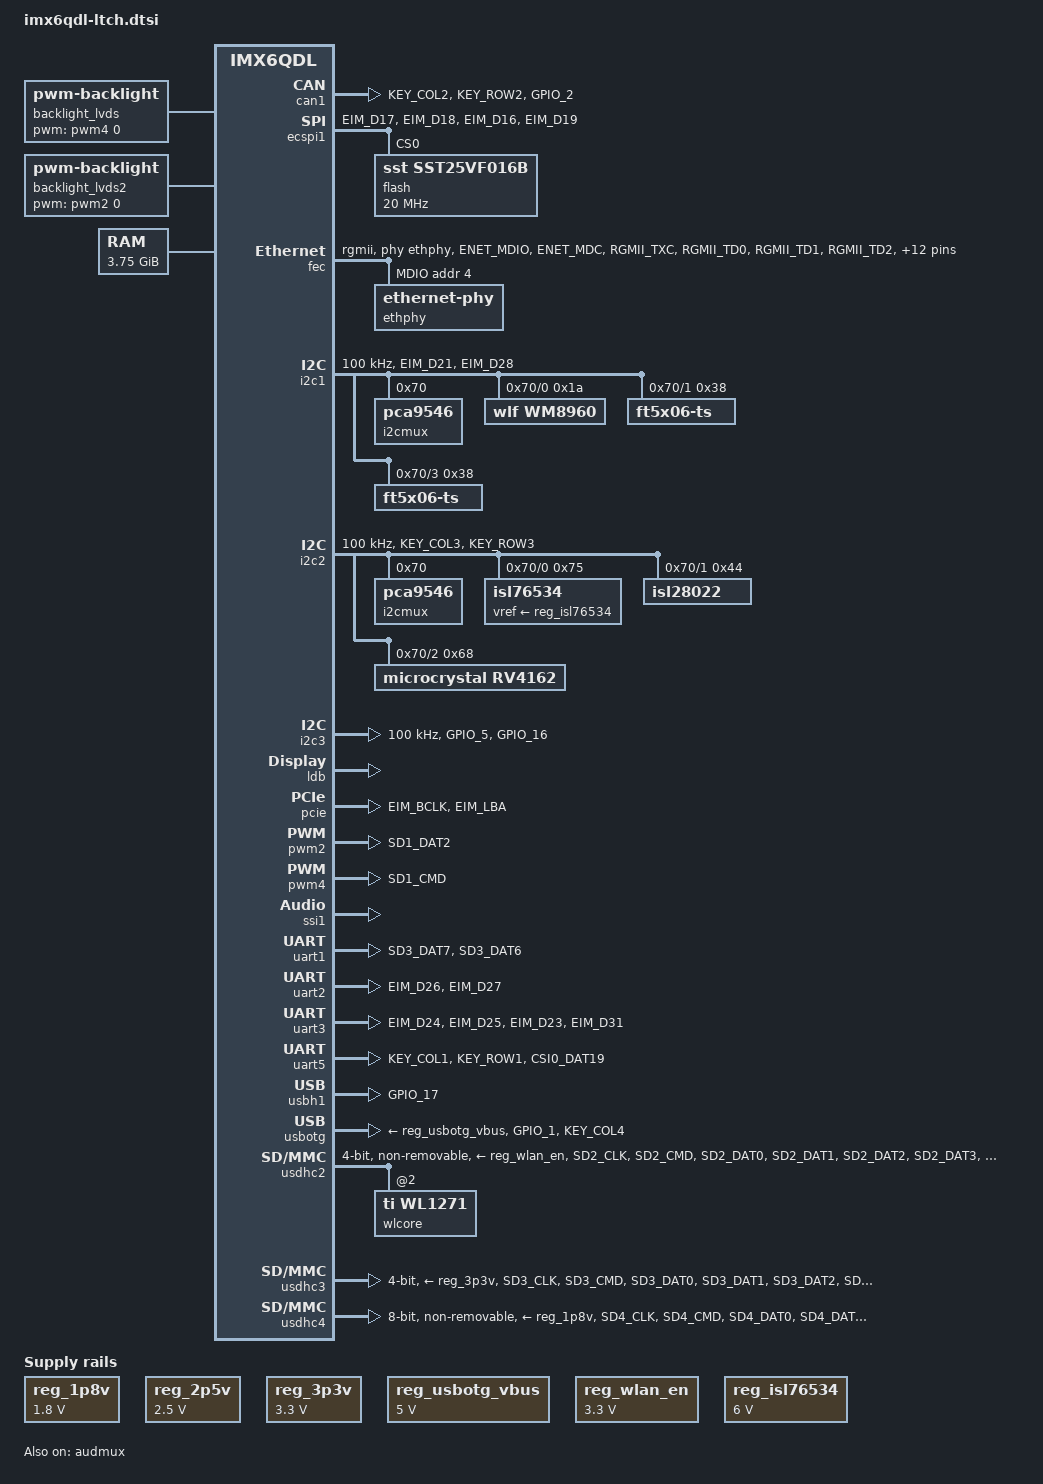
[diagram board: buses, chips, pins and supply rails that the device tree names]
/*
 * Copyright 2015 Boundary Devices, Inc.
 *
 * This file is dual-licensed: you can use it either under the terms
 * of the GPL or the X11 license, at your option. Note that this dual
 * licensing only applies to this file, and not this project as a
 * whole.
 *
 *  a) This file is free software; you can redistribute it and/or
 *     modify it under the terms of the GNU General Public License
 *     version 2 as published by the Free Software Foundation.
 *
 *     This file is distributed in the hope that it will be useful
 *     but WITHOUT ANY WARRANTY; without even the implied warranty of
 *     MERCHANTABILITY or FITNESS FOR A PARTICULAR PURPOSE.  See the
 *     GNU General Public License for more details.
 *
 * Or, alternatively
 *
 *  b) Permission is hereby granted, free of charge, to any person
 *     obtaining a copy of this software and associated documentation
 *     files (the "Software"), to deal in the Software without
 *     restriction, including without limitation the rights to use
 *     copy, modify, merge, publish, distribute, sublicense, and/or
 *     sell copies of the Software, and to permit persons to whom the
 *     Software is furnished to do so, subject to the following
 *     conditions:
 *
 *     The above copyright notice and this permission notice shall be
 *     included in all copies or substantial portions of the Software.
 *
 *     THE SOFTWARE IS PROVIDED , WITHOUT WARRANTY OF ANY KIND
 *     EXPRESS OR IMPLIED, INCLUDING BUT NOT LIMITED TO THE WARRANTIES
 *     OF MERCHANTABILITY, FITNESS FOR A PARTICULAR PURPOSE AND
 *     NONINFRINGEMENT. IN NO EVENT SHALL THE AUTHORS OR COPYRIGHT
 *     HOLDERS BE LIABLE FOR ANY CLAIM, DAMAGES OR OTHER LIABILITY
 *     WHETHER IN AN ACTION OF CONTRACT, TORT OR OTHERWISE, ARISING
 *     FROM, OUT OF OR IN CONNECTION WITH THE SOFTWARE OR THE USE OR
 *     OTHER DEALINGS IN THE SOFTWARE.
 */
#include <dt-bindings/gpio/gpio.h>
#include <dt-bindings/input/input.h>

&iomuxc {
	pinctrl-names = "default";
	pinctrl-0 = <&pinctrl_hog>;

	pinctrl_audmux3: audmux3grp {
		fsl,pins = <
			MX6QDL_PAD_CSI0_DAT7__AUD3_RXD		0x130b0
			MX6QDL_PAD_CSI0_DAT4__AUD3_TXC		0x130b0
			MX6QDL_PAD_CSI0_DAT5__AUD3_TXD		0x110b0
			MX6QDL_PAD_CSI0_DAT6__AUD3_TXFS		0x130b0
		>;
	};

	pinctrl_bt_rfkill: bt-rfkillgrp {
		fsl,pins = <
#define GP_BT_RFKILL_RESET	<&gpio6 16 GPIO_ACTIVE_LOW>
			MX6QDL_PAD_NANDF_CS3__GPIO6_IO16	0x030b0
		>;
	};

	pinctrl_can1: can1grp {
		fsl,pins = <
			MX6QDL_PAD_KEY_COL2__FLEXCAN1_TX	0x1b0b0
			MX6QDL_PAD_KEY_ROW2__FLEXCAN1_RX	0x1b0b0
#define GP_CAN1_STANDBY	<&gpio1 2 GPIO_ACTIVE_HIGH>
			MX6QDL_PAD_GPIO_2__GPIO1_IO02		0x0b0b0
		>;
	};

	pinctrl_ecspi1: ecspi1grp {
		fsl,pins = <
			MX6QDL_PAD_EIM_D17__ECSPI1_MISO		0x100b1
			MX6QDL_PAD_EIM_D18__ECSPI1_MOSI		0x100b1
			MX6QDL_PAD_EIM_D16__ECSPI1_SCLK		0x000b1
#define GP_ECSPI1_NOR_CS	<&gpio3 19 GPIO_ACTIVE_LOW>
			MX6QDL_PAD_EIM_D19__GPIO3_IO19		0x0b0b1
		>;
	};

	pinctrl_enet: enetgrp {
		fsl,pins = <
			MX6QDL_PAD_ENET_MDIO__ENET_MDIO		0x1b0b0
			MX6QDL_PAD_ENET_MDC__ENET_MDC		0x1b0b0
			MX6QDL_PAD_RGMII_TXC__RGMII_TXC		0x100b0
			MX6QDL_PAD_RGMII_TD0__RGMII_TD0		0x100b0
			MX6QDL_PAD_RGMII_TD1__RGMII_TD1		0x100b0
			MX6QDL_PAD_RGMII_TD2__RGMII_TD2		0x100b0
			MX6QDL_PAD_RGMII_TD3__RGMII_TD3		0x100b0
			MX6QDL_PAD_RGMII_TX_CTL__RGMII_TX_CTL	0x100b0
			MX6QDL_PAD_ENET_REF_CLK__ENET_TX_CLK	0x100b0
			MX6QDL_PAD_RGMII_RXC__RGMII_RXC		0x1b0b0
			MX6QDL_PAD_RGMII_RD0__RGMII_RD0		0x1b0b0
			MX6QDL_PAD_RGMII_RD1__RGMII_RD1		0x1b0b0
			MX6QDL_PAD_RGMII_RD2__RGMII_RD2		0x1b0b0
			MX6QDL_PAD_RGMII_RD3__RGMII_RD3		0x1b0b0
			MX6QDL_PAD_RGMII_RX_CTL__RGMII_RX_CTL	0x1b0b0
#define GP_ENET_PHY_RESET	<&gpio1 27 GPIO_ACTIVE_LOW>
			MX6QDL_PAD_ENET_RXD0__GPIO1_IO27	0x030b0
#define GPIRQ_ENET_PHY		<&gpio1 28 IRQ_TYPE_LEVEL_LOW>
			MX6QDL_PAD_ENET_TX_EN__GPIO1_IO28	0x1b0b0
#define GPIRQ_ENET		<&gpio1 6 IRQ_TYPE_LEVEL_HIGH>
			MX6QDL_PAD_GPIO_6__ENET_IRQ		0x000b1
		>;
	};

	pinctrl_hog: hoggrp {
		fsl,pins = <
#define GP_BT_CLK_REQ		<&gpio2 0 GPIO_ACTIVE_HIGH>
			MX6QDL_PAD_NANDF_D0__GPIO2_IO00	0x1b0b0
#define GP_BT_HOST_WAKE		<&gpio6 7 GPIO_ACTIVE_HIGH>
			MX6QDL_PAD_NANDF_CLE__GPIO6_IO07	0x1b0b0
#define GP_WIFI_WAKE		<&gpio2 1 GPIO_ACTIVE_HIGH>
			MX6QDL_PAD_NANDF_D1__GPIO2_IO01		0x1b0b0
#define GP_WIFI_QOW		<&gpio2 3 GPIO_ACTIVE_HIGH>
			MX6QDL_PAD_NANDF_D3__GPIO2_IO03		0x1b0b0

#define GP_LVDS			<&gpio4 5 GPIO_ACTIVE_HIGH>	/* J4 pin 19 */
			MX6QDL_PAD_GPIO_19__GPIO4_IO05		0x130b0
#define GP_LVDS2		<&gpio2 23 GPIO_ACTIVE_HIGH>	/* J5 pin 19 */
			MX6QDL_PAD_EIM_CS0__GPIO2_IO23		0x130b0

#define GP_TP55			<&gpio7 13 GPIO_ACTIVE_HIGH>
			MX6QDL_PAD_GPIO_18__GPIO7_IO13		0x1b0b0
#define GP_HOG_TP71		<&gpio1 30 GPIO_ACTIVE_HIGH>
			MX6QDL_PAD_ENET_TXD0__GPIO1_IO30	0x1b0b0
#define GP_TP74			<&gpio2 7 GPIO_ACTIVE_HIGH>
			MX6QDL_PAD_NANDF_D7__GPIO2_IO07		0x1b0b0
#define GP_TP124		<&gpio1 16 GPIO_ACTIVE_HIGH>
			MX6QDL_PAD_SD1_DAT0__GPIO1_IO16		0x1b0b0
#define GP_TP125		<&gpio7 1 GPIO_ACTIVE_HIGH>
			MX6QDL_PAD_SD3_DAT4__GPIO7_IO01		0x1b0b0
#define GP_TP151		<&gpio2 24 GPIO_ACTIVE_HIGH>
			MX6QDL_PAD_EIM_CS1__GPIO2_IO24		0x1b0b0
#define GP_TP152		<&gpio6 9 GPIO_ACTIVE_HIGH>
			MX6QDL_PAD_NANDF_WP_B__GPIO6_IO09	0x1b0b0
#define GP_TP153		<&gpio6 4 GPIO_ACTIVE_HIGH>
			MX6QDL_PAD_CSI0_DAT18__GPIO6_IO04	0x1b0b0

#define GP_LED3V		<&gpio5 7 GPIO_ACTIVE_HIGH>
			MX6QDL_PAD_DISP0_DAT13__GPIO5_IO07	0x1b0b0
#define GP_LED3V_CTRL		<&gpio5 5 GPIO_ACTIVE_HIGH>
			MX6QDL_PAD_DISP0_DAT11__GPIO5_IO05	0x1b0b0
#define GP_LED5V		<&gpio5 8 GPIO_ACTIVE_HIGH>
			MX6QDL_PAD_DISP0_DAT14__GPIO5_IO08	0x1b0b0
#define GP_LED5V_CTRL		<&gpio4 31 GPIO_ACTIVE_HIGH>
			MX6QDL_PAD_DISP0_DAT10__GPIO4_IO31	0x1b0b0
		>;
	};

	pinctrl_i2c1: i2c1grp {
		fsl,pins = <
			MX6QDL_PAD_EIM_D21__I2C1_SCL		0x4001b8b1
			MX6QDL_PAD_EIM_D28__I2C1_SDA		0x4001b8b1
		>;
	};

	pinctrl_i2c1_1: i2c1-1grp {
		fsl,pins = <
#define GP_I2C1_SCL	<&gpio3 21 GPIO_ACTIVE_HIGH>
			MX6QDL_PAD_EIM_D21__GPIO3_IO21		0x4001b8b1
#define GP_I2C1_SDA	<&gpio3 28 GPIO_ACTIVE_HIGH>
			MX6QDL_PAD_EIM_D28__GPIO3_IO28		0x4001b8b1
		>;
	};

	/* i2c1 - TCA9546APWR,  a - wm89 , b - touch, c - pcie, d - J6 */
	/* A0/A1 are i2c address selects, 0x70 - 0x73 */
	pinctrl_i2c1_tca9546: i2c1-tca9546grp {
		fsl,pins = <
#define GP_I2C1_TCA9546_A0	<&gpio4 19 GPIO_ACTIVE_HIGH>
			MX6QDL_PAD_DI0_PIN3__GPIO4_IO19		0x030b0
#define GP_I2C1_TCA9546_A1	<&gpio4 20 GPIO_ACTIVE_HIGH>
			MX6QDL_PAD_DI0_PIN4__GPIO4_IO20		0x030b0
#define GP_I2C1_TCA9546_RESET	<&gpio1 8 GPIO_ACTIVE_LOW>
			MX6QDL_PAD_GPIO_8__GPIO1_IO08		0x030b0
		>;
	};

	/* i2c1a wm8960 - Amplifier Mute, TDA7491LP13TR */
	pinctrl_i2c1a_wm8960: i2c1a-wm8960grp {
		fsl,pins = <
#define GP_WM8960_AMP_STDBY	<&gpio4 7 GPIO_ACTIVE_LOW>		/* Low is standby */
			MX6QDL_PAD_KEY_ROW0__GPIO4_IO07		0x030b0
#define GP_WM8960_AMP_MUTE		<&gpio4 21 GPIO_ACTIVE_LOW>		/* Low is muted */
			MX6QDL_PAD_DISP0_DAT0__GPIO4_IO21	0x030b0
#define GP_WM8960_AMP_G0	<&gpio4 25 GPIO_ACTIVE_HIGH>
			MX6QDL_PAD_DISP0_DAT4__GPIO4_IO25	0x030b0
#define GP_WM8960_AMP_G1	<&gpio4 24 GPIO_ACTIVE_HIGH>
			MX6QDL_PAD_DISP0_DAT3__GPIO4_IO24	0x030b0
#define GP_WM8960_MIC_DET	<&gpio7 8 GPIO_ACTIVE_LOW>
			MX6QDL_PAD_SD3_RST__GPIO7_IO08		0x1b0b0
			MX6QDL_PAD_GPIO_0__CCM_CLKO1		0x000b0		/* mclk */
		>;
	};

	/* i2c1b touch J7, pin 4 */
	pinctrl_i2c1b_ft5x06: i2c1b-ft5x06grp {
		fsl,pins = <
#define GPIRQ_I2C1B_J7		<&gpio1 9 IRQ_TYPE_EDGE_FALLING>
#define GP_I2C1B_J7		<&gpio1 9 GPIO_ACTIVE_LOW>
			MX6QDL_PAD_GPIO_9__GPIO1_IO09		0x1b0b0
		>;
	};

	/* i2c1d touch J6, pin 4 */
	pinctrl_i2c1d_ft5x06: i2c1d-ft5x06grp {
		fsl,pins = <
#define GPIRQ_I2C1D_J6		<&gpio1 7 IRQ_TYPE_EDGE_FALLING>
#define GP_I2C1D_J6		<&gpio1 7 GPIO_ACTIVE_LOW>
			MX6QDL_PAD_GPIO_7__GPIO1_IO07		0x1b0b0
		>;
	};

	pinctrl_i2c2: i2c2grp {
		fsl,pins = <
			MX6QDL_PAD_KEY_COL3__I2C2_SCL		0x4001b8b1
			MX6QDL_PAD_KEY_ROW3__I2C2_SDA		0x4001b8b1
		>;
	};

	pinctrl_i2c2_1: i2c2-1grp {
		fsl,pins = <
#define GP_I2C2_SCL	<&gpio4 12 GPIO_ACTIVE_HIGH>
			MX6QDL_PAD_KEY_COL3__GPIO4_IO12		0x4001b8b1
#define GP_I2C2_SDA	<&gpio4 13 GPIO_ACTIVE_HIGH>
			MX6QDL_PAD_KEY_ROW3__GPIO4_IO13		0x4001b8b1
		>;
	};

	/* i2c2 - TCA9546APWR, a : DAC, b: ADC, c: RV4162, d: J14 */
	pinctrl_i2c2_tca9546: i2c2-tca9546grp {
		fsl,pins = <
#define GP_I2C2_TCA9546_RESET	<&gpio1 4 GPIO_ACTIVE_LOW>
			MX6QDL_PAD_GPIO_4__GPIO1_IO04		0x030b0
		>;
	};

	/* i2c2b ISL28022FUZ ADC */
	pinctrl_i2c2b_isl28022: i2c2b-isl28022grp {
		fsl,pins = <
#define GPIRQ_ISL28022         <&gpio4 15 IRQ_TYPE_LEVEL_LOW>
#define GP_ISL28022            <&gpio4 15 GPIO_ACTIVE_LOW>
			MX6QDL_PAD_KEY_ROW4__GPIO4_IO15		0x1f0b0
			>;
	};

	pinctrl_i2c2c_rv4162: i2c2c-rv4162grp {
		fsl,pins = <
#define GPIRQ_RTC_RV4162	<&gpio4 6 IRQ_TYPE_LEVEL_LOW>
			MX6QDL_PAD_KEY_COL0__GPIO4_IO06		0x1b0b0
		>;
	};

	/* i2c2d J14, pin 4 */
	pinctrl_i2c2d_j14: i2c2d-j14grp {
		fsl,pins = <
#define GPIRQ_I2C2D_J14		<&gpio1 3 IRQ_TYPE_LEVEL_LOW>
			MX6QDL_PAD_GPIO_3__GPIO1_IO03	0x1b0b0
		>;
	};

	pinctrl_i2c3: i2c3grp {
		fsl,pins = <
			MX6QDL_PAD_GPIO_5__I2C3_SCL		0x4001b8b1
			MX6QDL_PAD_GPIO_16__I2C3_SDA		0x4001b8b1
		>;
	};

	pinctrl_i2c3_1: i2c3_1grp {
		fsl,pins = <
#define GP_I2C3_SCL		<&gpio1 5 GPIO_ACTIVE_HIGH>
			MX6QDL_PAD_GPIO_5__GPIO1_IO05		0x4001b8b1
#define GP_I2C3_SDA		<&gpio7 11 GPIO_ACTIVE_HIGH>
			MX6QDL_PAD_GPIO_16__GPIO7_IO11		0x4001b8b1
		>;
	};

	pinctrl_i2c3_j22: i2c3-j22grp {
		fsl,pins = <
#define GPIRQ_I2C3_J22		<&gpio1 17 IRQ_TYPE_LEVEL_LOW>
			MX6QDL_PAD_SD1_DAT1__GPIO1_IO17	0x1b0b0
		>;
	};

	pinctrl_pcie: pciegrp {
		fsl,pins = <
#define GP_PCIE_RESET		<&gpio6 31 GPIO_ACTIVE_LOW>
			MX6QDL_PAD_EIM_BCLK__GPIO6_IO31		0x030b0
#define GP_PCIE_DISABLE		<&gpio2 27 GPIO_ACTIVE_LOW>
			MX6QDL_PAD_EIM_LBA__GPIO2_IO27		0x030b0
		>;
	};

	/* PWM2 - Backlight on LVDS2 connector: J5, pin 20 */
	pinctrl_pwm2: pwm2grp {
		fsl,pins = <
			MX6QDL_PAD_SD1_DAT2__PWM2_OUT		0x030b1
		>;
	};

	/* PWM4 - Backlight on LVDS connector: J4, pin 20 */
	pinctrl_pwm4: pwm4grp {
		fsl,pins = <
			MX6QDL_PAD_SD1_CMD__PWM4_OUT		0x030b1
		>;
	};

	pinctrl_reg_usbotg_vbus: reg-usbotg-vbusgrp {
		fsl,pins = <
#define GP_REG_USBOTG	<&gpio3 22 GPIO_ACTIVE_HIGH>
			MX6QDL_PAD_EIM_D22__GPIO3_IO22		0x030b0
		>;
	};

	pinctrl_reg_wlan_en: reg-wlan-engrp {
		fsl,pins = <
#define GP_REG_WLAN_EN	<&gpio6 15 GPIO_ACTIVE_HIGH>
			MX6QDL_PAD_NANDF_CS2__GPIO6_IO15	0x030b0
		>;
	};

	pinctrl_uart1: uart1grp {
		fsl,pins = <
			MX6QDL_PAD_SD3_DAT7__UART1_TX_DATA	0x1b0b1
			MX6QDL_PAD_SD3_DAT6__UART1_RX_DATA	0x1b0b1
		>;
	};

	pinctrl_uart2: uart2grp {
		fsl,pins = <
			MX6QDL_PAD_EIM_D26__UART2_TX_DATA	0x1b0b1
			MX6QDL_PAD_EIM_D27__UART2_RX_DATA	0x1b0b1
		>;
	};

	pinctrl_uart3: uart3grp {
		fsl,pins = <
			MX6QDL_PAD_EIM_D24__UART3_TX_DATA	0x1b0b1
			MX6QDL_PAD_EIM_D25__UART3_RX_DATA	0x1b0b1
			MX6QDL_PAD_EIM_D23__UART3_CTS_B		0x1b0b1
			MX6QDL_PAD_EIM_D31__UART3_RTS_B		0x1b0b1
		>;
	};

	pinctrl_uart5: uart5grp {
		fsl,pins = <
			MX6QDL_PAD_KEY_COL1__UART5_TX_DATA	0x0b0b1
			MX6QDL_PAD_KEY_ROW1__UART5_RX_DATA	0x1b0b1
#define GP_UART5_TX_EN	<&gpio6 5 GPIO_ACTIVE_HIGH>
			MX6QDL_PAD_CSI0_DAT19__GPIO6_IO05	0x030b0
		>;
	};

	pinctrl_usbh1: usbh1grp {
		fsl,pins = <
#define GP_USBH1_HUB_RESET	<&gpio7 12 GPIO_ACTIVE_LOW>
			MX6QDL_PAD_GPIO_17__GPIO7_IO12		0x030b0
		>;
	};

	pinctrl_usbotg: usbotggrp {
		fsl,pins = <
			MX6QDL_PAD_GPIO_1__USB_OTG_ID		0x17059
			MX6QDL_PAD_KEY_COL4__USB_OTG_OC		0x1b0b0
		>;
	};

	pinctrl_usdhc2: usdhc2grp {
		fsl,pins = <
			MX6QDL_PAD_SD2_CLK__SD2_CLK		0x10071
			MX6QDL_PAD_SD2_CMD__SD2_CMD		0x17071
			MX6QDL_PAD_SD2_DAT0__SD2_DATA0		0x17071
			MX6QDL_PAD_SD2_DAT1__SD2_DATA1		0x17071
			MX6QDL_PAD_SD2_DAT2__SD2_DATA2		0x17071
			MX6QDL_PAD_SD2_DAT3__SD2_DATA3		0x17071
			MX6QDL_PAD_SD1_CLK__OSC32K_32K_OUT	0x000b0		/* slow clock */
#define GPIRQ_WIFI	<&gpio6 11 IRQ_TYPE_LEVEL_HIGH>
			MX6QDL_PAD_NANDF_CS0__GPIO6_IO11	0x100b0
		>;
	};

	pinctrl_usdhc2_100mhz: usdhc2grp-100mhz {
		fsl,pins = <
			MX6QDL_PAD_SD2_CLK__SD2_CLK		0x100B9
			MX6QDL_PAD_SD2_CMD__SD2_CMD		0x170B9
			MX6QDL_PAD_SD2_DAT0__SD2_DATA0		0x170B9
			MX6QDL_PAD_SD2_DAT1__SD2_DATA1 		0x170B9
			MX6QDL_PAD_SD2_DAT2__SD2_DATA2 		0x170B9
			MX6QDL_PAD_SD2_DAT3__SD2_DATA3 		0x170B9
		>;
	};

	pinctrl_usdhc2_200mhz: usdhc2grp-200mhz {
		fsl,pins = <
			MX6QDL_PAD_SD2_CLK__SD2_CLK 		0x100F9
			MX6QDL_PAD_SD2_CMD__SD2_CMD		0x170F9
			MX6QDL_PAD_SD2_DAT0__SD2_DATA0		0x170F9
			MX6QDL_PAD_SD2_DAT1__SD2_DATA1 		0x170F9
			MX6QDL_PAD_SD2_DAT2__SD2_DATA2 		0x170F9
			MX6QDL_PAD_SD2_DAT3__SD2_DATA3 		0x170F9
		>;
	};

	pinctrl_usdhc3: usdhc3grp {
		fsl,pins = <
			MX6QDL_PAD_SD3_CLK__SD3_CLK		0x10059
			MX6QDL_PAD_SD3_CMD__SD3_CMD		0x17059
			MX6QDL_PAD_SD3_DAT0__SD3_DATA0		0x17059
			MX6QDL_PAD_SD3_DAT1__SD3_DATA1		0x17059
			MX6QDL_PAD_SD3_DAT2__SD3_DATA2		0x17059
			MX6QDL_PAD_SD3_DAT3__SD3_DATA3		0x17059
#define GP_USDHC3_CD		<&gpio7 0 GPIO_ACTIVE_LOW>
			MX6QDL_PAD_SD3_DAT5__GPIO7_IO00		0x1b0b0
		>;
	};

	pinctrl_usdhc4: usdhc4grp {
		fsl,pins = <
			MX6QDL_PAD_SD4_CLK__SD4_CLK		0x10059
			MX6QDL_PAD_SD4_CMD__SD4_CMD		0x17059
			MX6QDL_PAD_SD4_DAT0__SD4_DATA0		0x17059
			MX6QDL_PAD_SD4_DAT1__SD4_DATA1		0x17059
			MX6QDL_PAD_SD4_DAT2__SD4_DATA2		0x17059
			MX6QDL_PAD_SD4_DAT3__SD4_DATA3		0x17059
			MX6QDL_PAD_SD4_DAT4__SD4_DATA4		0x17059
			MX6QDL_PAD_SD4_DAT5__SD4_DATA5		0x17059
			MX6QDL_PAD_SD4_DAT6__SD4_DATA6		0x17059
			MX6QDL_PAD_SD4_DAT7__SD4_DATA7		0x17059
#define GP_EMMC_RESET		<&gpio2 6 GPIO_ACTIVE_LOW>
			MX6QDL_PAD_NANDF_D6__GPIO2_IO06		0x130b0
		>;
	};
};

/ {
	aliases {
		backlight_lvds = &backlight_lvds;
		backlight_lvds2 = &backlight_lvds2;
		fb_lvds = &fb_lvds;
		fb_lvds2 = &fb_lvds2;
		ldb = &ldb;
		mmc0 = &usdhc3;
		mmc1 = &usdhc4;
		mmc2 = &usdhc2;
		mxcfb0 = &fb_lvds;
		mxcfb1 = &fb_lvds2;
		pwm_lvds = &pwm4;
		pwm_lvds2 = &pwm2;
		rtc1 = &snvs_rtc;
		t_lvds = &t_lvds;
		t_lvds2 = &t_lvds2;
	};

	backlight_lvds: backlight-lvds {
		brightness-levels = <0 1 2 3 4 5 6 7 8 9 10>;
		compatible = "pwm-backlight";
		default-brightness-level = <8>;
		display = <&fb_lvds>;
		pwms = <&pwm4 0 5000000>;
	};

	backlight_lvds2: backlight-lvds2 {
		brightness-levels = <0 1 2 3 4 5 6 7 8 9 10>;
		compatible = "pwm-backlight";
		default-brightness-level = <8>;
		display = <&fb_lvds2>;
		pwms = <&pwm2 0 5000000>;
	};

	bt-rfkill {
		compatible = "net,rfkill-gpio";
		pinctrl-names = "default";
		pinctrl-0 = <&pinctrl_bt_rfkill>;
		name = "bt-rfkill";
		type = <2>;	/* bluetooth */
		reset-gpios = GP_BT_RFKILL_RESET;
	};

	fb_lvds: fb@0 {
		compatible = "fsl,mxc_sdc_fb";
		disp_dev = "ldb";
		interface_pix_fmt = "RGB666";
		default_bpp = <16>;
		int_clk = <0>;
		late_init = <0>;
		status = "disabled";
	};

	fb_lvds2: fb@1 {
		compatible = "fsl,mxc_sdc_fb";
		disp_dev = "ldb";
		interface_pix_fmt = "RGB666";
		default_bpp = <16>;
		int_clk = <0>;
		late_init = <0>;
		status = "disabled";
	};

	memory {
		reg = <0x10000000 0xeffffc00>;
	};

	reg_1p8v: regulator-1v8 {
		compatible = "regulator-fixed";
		regulator-name = "1P8V";
		regulator-min-microvolt = <1800000>;
		regulator-max-microvolt = <1800000>;
		regulator-always-on;
	};

	reg_2p5v: regulator-2v5 {
		compatible = "regulator-fixed";
		regulator-name = "2P5V";
		regulator-min-microvolt = <2500000>;
		regulator-max-microvolt = <2500000>;
		regulator-always-on;
	};

	reg_3p3v: regulator-3v3 {
		compatible = "regulator-fixed";
		regulator-name = "3P3V";
		regulator-min-microvolt = <3300000>;
		regulator-max-microvolt = <3300000>;
		regulator-always-on;
	};

	reg_usbotg_vbus: regulator-usb-otg-vbus {
		compatible = "regulator-fixed";
		pinctrl-names = "default";
		pinctrl-0 = <&pinctrl_reg_usbotg_vbus>;
		regulator-name = "usb_otg_vbus";
		regulator-min-microvolt = <5000000>;
		regulator-max-microvolt = <5000000>;
		gpio = GP_REG_USBOTG;
		enable-active-high;
	};

	reg_wlan_en: regulator-wlan {
		compatible = "regulator-fixed";
		pinctrl-names = "default";
		pinctrl-0 = <&pinctrl_reg_wlan_en>;
		regulator-name = "wlan-en";
		regulator-min-microvolt = <3300000>;
		regulator-max-microvolt = <3300000>;
		gpio = GP_REG_WLAN_EN;
		startup-delay-us = <70000>;
		enable-active-high;
	};

	reg_isl76534: regulator-isl76534 {
		compatible = "regulator-fixed";
		regulator-name = "reg_isl76534";
		regulator-min-microvolt = <6000000>;
		regulator-max-microvolt = <6000000>;
		regulator-always-on;
	};

	sound {
		amp-mute-gpios = GP_WM8960_AMP_MUTE;
		/* delay between mute and standby enter */
		amp-standby-enter-wait-ms = <50>;
		/* delay between standby exit and unmute */
		amp-standby-exit-delay-ms = <100>;
		amp-standby-gpios = GP_WM8960_AMP_STDBY;
		amp-gain-gpios = GP_WM8960_AMP_G0, GP_WM8960_AMP_G1;
		/* amp-gain-seq = /bits/ 8 <0 1 2 3>; */ /* default */
#ifdef USE_ASRC
		asrc-controller = <&asrc>;
#endif
		audio-codec = <&wm8960>;
		audio-routing =
			"Ext Spk", "HP_L",
			"Ext Spk", "HP_R",
			"LINPUT1", "Main MIC",
			"Main MIC", "MICB"
#ifdef USE_ASRC
			,"CPU-Playback", "ASRC-Playback",
			"Playback", "CPU-Playback",
			"ASRC-Capture", "CPU-Capture",
			"CPU-Capture", "Capture"
#endif
			;

		codec-master;
		compatible = "fsl,imx6q-ltch-wm8960",
			     "fsl,imx-audio-wm8960";
		cpu-dai = <&ssi1>;
		model = "wm8960-audio";
		mux-int-port = <1>;
		mux-ext-port = <3>;
	};

	v4l2-out {
		compatible = "fsl,mxc_v4l2_output";
		status = "okay";
	};
};

&audmux {
	pinctrl-names = "default";
	pinctrl-0 = <&pinctrl_audmux3>;
	status = "okay";
};

&can1 {
	pinctrl-names = "default";
	pinctrl-0 = <&pinctrl_can1>;
	trx-stby-gpio = GP_CAN1_STANDBY;
	status = "okay";
};

&ecspi1 {
	pinctrl-names = "default";
	pinctrl-0 = <&pinctrl_ecspi1>;
	fsl,spi-num-chipselects = <1>;
	cs-gpios = GP_ECSPI1_NOR_CS;
	status = "okay";

	flash: m25p80@0 {
		compatible = "sst,sst25vf016b";
		spi-max-frequency = <20000000>;
		reg = <0>;
		#address-cells = <1>;
		#size-cells = <1>;
		mtd@00000000 {
			label = "U-Boot";
			reg = <0x0 0xC0000>;
		};

		mtd@000C0000 {
			label = "env";
			reg = <0xC0000 0x2000>;
		};
		mtd@000C2000 {
			label = "splash";
			reg = <0xC2000 0x13e000>;
		};
	};
};

&fec {
	interrupts-extended = GPIRQ_ENET,
			      <&gpc 0 119 IRQ_TYPE_LEVEL_HIGH>;
	phy-handle = <&ethphy>;
	phy-mode = "rgmii";
#if 0
	phy-reset-gpios = GP_ENET_PHY_RESET;
#endif
	pinctrl-names = "default";
	pinctrl-0 = <&pinctrl_enet>;
	status = "okay";

	mdio {
		#address-cells = <0>;
		#size-cells = <1>;

		ethphy: ethernet-phy@4 {
			reg = <4>;
			interrupts-extended = GPIRQ_ENET_PHY;
		};
	};
};

&i2c1 {
	clock-frequency = <100000>;
	pinctrl-names = "default", "gpio";
	pinctrl-0 = <&pinctrl_i2c1>;
	pinctrl-1 = <&pinctrl_i2c1_1>;
	scl-gpios = GP_I2C1_SCL;
	sda-gpios = GP_I2C1_SDA;
	status = "okay";

	i2cmux@70 {
		compatible = "pca9546";
		pinctrl-names = "default";
		pinctrl-0 = <&pinctrl_i2c1_tca9546>;
		reg = <0x70>;
		reset-gpios = GP_I2C1_TCA9546_RESET;
		#address-cells = <1>;
		#size-cells = <0>;

		i2c1a: i2c1@0 {
			reg = <0>;
			#address-cells = <1>;
			#size-cells = <0>;
		};

		i2c1b: i2c1@1 {
			reg = <1>;
			#address-cells = <1>;
			#size-cells = <0>;
		};

		i2c1c: i2c1@2 {
			reg = <2>;
			#address-cells = <1>;
			#size-cells = <0>;
		};

		i2c1d: i2c1@3 {
			reg = <3>;
			#address-cells = <1>;
			#size-cells = <0>;
		};
	};
};

&i2c1a {
	clock-frequency = <100000>;

	wm8960: wm8960@1a {
		compatible = "wlf,wm8960";
		pinctrl-names = "default";
		pinctrl-0 = <&pinctrl_i2c1a_wm8960>;
		reg = <0x1a>;
		clock-names = "mclk";
		wlf,shared-lrclk;
		clocks = <&clks IMX6QDL_CLK_CKO>;
		assigned-clocks =        <&clks IMX6QDL_CLK_CKO>;
		assigned-clock-parents = <&clks IMX6QDL_CLK_CKO2>;
	};
};

&i2c1b {
	clock-frequency = <100000>;

	ft5x06-ts@38 {
		compatible = "ft5x06-ts";
		pinctrl-names = "default";
		pinctrl-0 = <&pinctrl_i2c1b_ft5x06>;
		reg = <0x38>;
		interrupts-extended = GPIRQ_I2C1B_J7;
		wakeup-gpios = GP_I2C1B_J7;
	};
};

&i2c1c {
	clock-frequency = <100000>;
	/* to pcie connector */
};

&i2c1d {
	clock-frequency = <100000>;

	ft5x06-ts@38 {
		compatible = "ft5x06-ts";
		pinctrl-names = "default";
		pinctrl-0 = <&pinctrl_i2c1d_ft5x06>;
		reg = <0x38>;
		interrupts-extended = GPIRQ_I2C1D_J6;
		wakeup-gpios = GP_I2C1D_J6;
	};
};

&i2c2 {
	clock-frequency = <100000>;
	pinctrl-names = "default", "gpio";
	pinctrl-0 = <&pinctrl_i2c2>;
	pinctrl-1 = <&pinctrl_i2c2_1>;
	scl-gpios = GP_I2C2_SCL;
	sda-gpios = GP_I2C2_SDA;
	status = "okay";

	i2cmux@70 {
		compatible = "pca9546";
		pinctrl-names = "default";
		pinctrl-0 = <&pinctrl_i2c2_tca9546>;
		reg = <0x70>;
		reset-gpios = GP_I2C2_TCA9546_RESET;
		#address-cells = <1>;
		#size-cells = <0>;

		i2c2a: i2c2@0 {
			reg = <0>;
			#address-cells = <1>;
			#size-cells = <0>;
		};

		i2c2b: i2c2@1 {
			reg = <1>;
			#address-cells = <1>;
			#size-cells = <0>;
		};

		i2c2c: i2c2@2 {
			reg = <2>;
			#address-cells = <1>;
			#size-cells = <0>;
		};

		i2c2d: i2c2@3 {
			reg = <3>;
			#address-cells = <1>;
			#size-cells = <0>;
		};
	};
};

&i2c2a {
	clock-frequency = <100000>;

	isl76534@75 {
		compatible = "isl76534";
		reg = <0x75>;
		vref-supply = <&reg_isl76534>;
	};
};

&i2c2b {
	clock-frequency = <100000>;

	isl28022@44 {
		compatible = "isl28022";
		interrupts-extended = GPIRQ_ISL28022;
		pinctrl-names = "default";
		pinctrl-0 = <&pinctrl_i2c2b_isl28022>;
		reg = <0x44>;
		bus-voltage-max = <16>; 	/* 16/32/60 Volts for full range */
		shunt-voltage-max = <320>;	/* 40/80/160/320 mV */
		bus-adc-cfg = <2>;		/* 2 means 14-bit, 258 uSec */
		shunt-adc-cfg = <2>;		/* 2 means 14-bit, 258 uSec */
		rshunt = <10>;			/* ohms */
	};
};

&i2c2c {
	clock-frequency = <100000>;

	rv4162@68 {
		compatible = "microcrystal,rv4162";
		pinctrl-names = "default";
		pinctrl-0 = <&pinctrl_i2c2c_rv4162>;
		reg = <0x68>;
		interrupts-extended = GPIRQ_RTC_RV4162;
	};
};

&i2c2d {
	clock-frequency = <100000>;
};

&i2c3 {
	clock-frequency = <100000>;
	pinctrl-names = "default", "gpio";
	pinctrl-0 = <&pinctrl_i2c3>;
	pinctrl-1 = <&pinctrl_i2c3_1>;
	scl-gpios = GP_I2C3_SCL;
	sda-gpios = GP_I2C3_SDA;
	status = "okay";

};

&ldb {
	status = "okay";

	lvds-channel@0 {
		crtc = "ipu1-di0";
		fsl,data-mapping = "spwg";
		fsl,data-width = <18>;
		status = "okay";
		primary;

		display-timings {
			t_lvds: t-lvds-default {
				/* DT070BTFT, values may be changed in bootscript */
				clock-frequency = <51206400>;
				hactive = <1024>;
				vactive = <600>;
				hback-porch = <220>;
				hfront-porch = <40>;
				vback-porch = <21>;
				vfront-porch = <4>;
				hsync-len = <60>;
				vsync-len = <10>;
			};
		};
	};

	lvds-channel@1 {
		crtc = "ipu2-di0";
		fsl,data-mapping = "spwg";
		fsl,data-width = <18>;
		status = "okay";

		display-timings {
			t_lvds2: t-lvds2-default {
				/* DT070BTFT, values may be changed in bootscript */
				clock-frequency = <51206400>;
				hactive = <1024>;
				vactive = <600>;
				hback-porch = <220>;
				hfront-porch = <40>;
				vback-porch = <21>;
				vfront-porch = <4>;
				hsync-len = <60>;
				vsync-len = <10>;
			};
		};
	};
};

&pcie {
	pinctrl-names = "default";
	pinctrl-0 = <&pinctrl_pcie>;
	reset-gpios = GP_PCIE_RESET;
	status = "okay";
};

&pwm2 {
	pinctrl-names = "default";
	pinctrl-0 = <&pinctrl_pwm2>;
	status = "okay";
};

&pwm4 {
	pinctrl-names = "default";
	pinctrl-0 = <&pinctrl_pwm4>;
	status = "okay";
};

&ssi1 {
	fsl,mode = "i2s-slave";
	status = "okay";
};

&uart1 {
	pinctrl-names = "default";
	pinctrl-0 = <&pinctrl_uart1>;
	status = "okay";
};

&uart2 {
	pinctrl-names = "default";
	pinctrl-0 = <&pinctrl_uart2>;
	status = "okay";
};

&uart3 {
	pinctrl-names = "default";
	pinctrl-0 = <&pinctrl_uart3>;
	uart-has-rtscts;
	status = "okay";
};

&uart5 {
	pinctrl-names = "default";
	pinctrl-0 = <&pinctrl_uart5>;
	control-gpios = GP_UART5_TX_EN;
#define M_TX_EN		1
	off_levels = <0>;
	rxact_mask = <0>;
	rxact_levels = <0>;
	rs232_levels = <0>;
	rs232_txen_mask = <0>;
	rs232_txen_levels = <0>;
	rs485_levels = <0>;
	rs485_txen_mask = <0x1>;
	rs485_txen_levels = <M_TX_EN>;
	uart-has-rs485-half-duplex;
	rs485-mode = <1>;	/* 1 to enable */
	status = "okay";
};

&usbh1 {
	pinctrl-names = "default";
	pinctrl-0 = <&pinctrl_usbh1>;
	disable-over-current;
	reset-gpios = GP_USBH1_HUB_RESET;
	status = "okay";
};

&usbotg {
	vbus-supply = <&reg_usbotg_vbus>;
	pinctrl-names = "default";
	pinctrl-0 = <&pinctrl_usbotg>;
	status = "okay";
};

&usdhc2 {	/* uSDHC2, Silex */
	pinctrl-names = "default", "state_100mhz", "state_200mhz";
	pinctrl-0 = <&pinctrl_usdhc2>;
	pinctrl-1 = <&pinctrl_usdhc2_100mhz>;
	pinctrl-2 = <&pinctrl_usdhc2_200mhz>;
	bus-width = <4>;
	non-removable;
	vmmc-supply = <&reg_wlan_en>;
	vqmmc-1-8-v;
	cap-power-off-card;
	keep-power-in-suspend;
	status = "okay";

	#address-cells = <1>;
	#size-cells = <0>;
	wlcore: wlcore@2 {
		compatible = "ti,wl1271";
		interrupts-extended = GPIRQ_WIFI;
		reg = <2>;
		ref-clock-frequency = <38400000>;
	};
};

&usdhc3 {
	pinctrl-names = "default";
	pinctrl-0 = <&pinctrl_usdhc3>;
	bus-width = <4>;
	cd-gpios = GP_USDHC3_CD;
	vmmc-supply = <&reg_3p3v>;
	status = "okay";
};

&usdhc4 {
	pinctrl-names = "default";
	pinctrl-0 = <&pinctrl_usdhc4>;
	bus-width = <8>;
	non-removable;
	vqmmc-1-8-v;
	vmmc-supply = <&reg_1p8v>;
	keep-power-in-suspend;
	status = "okay";
};
